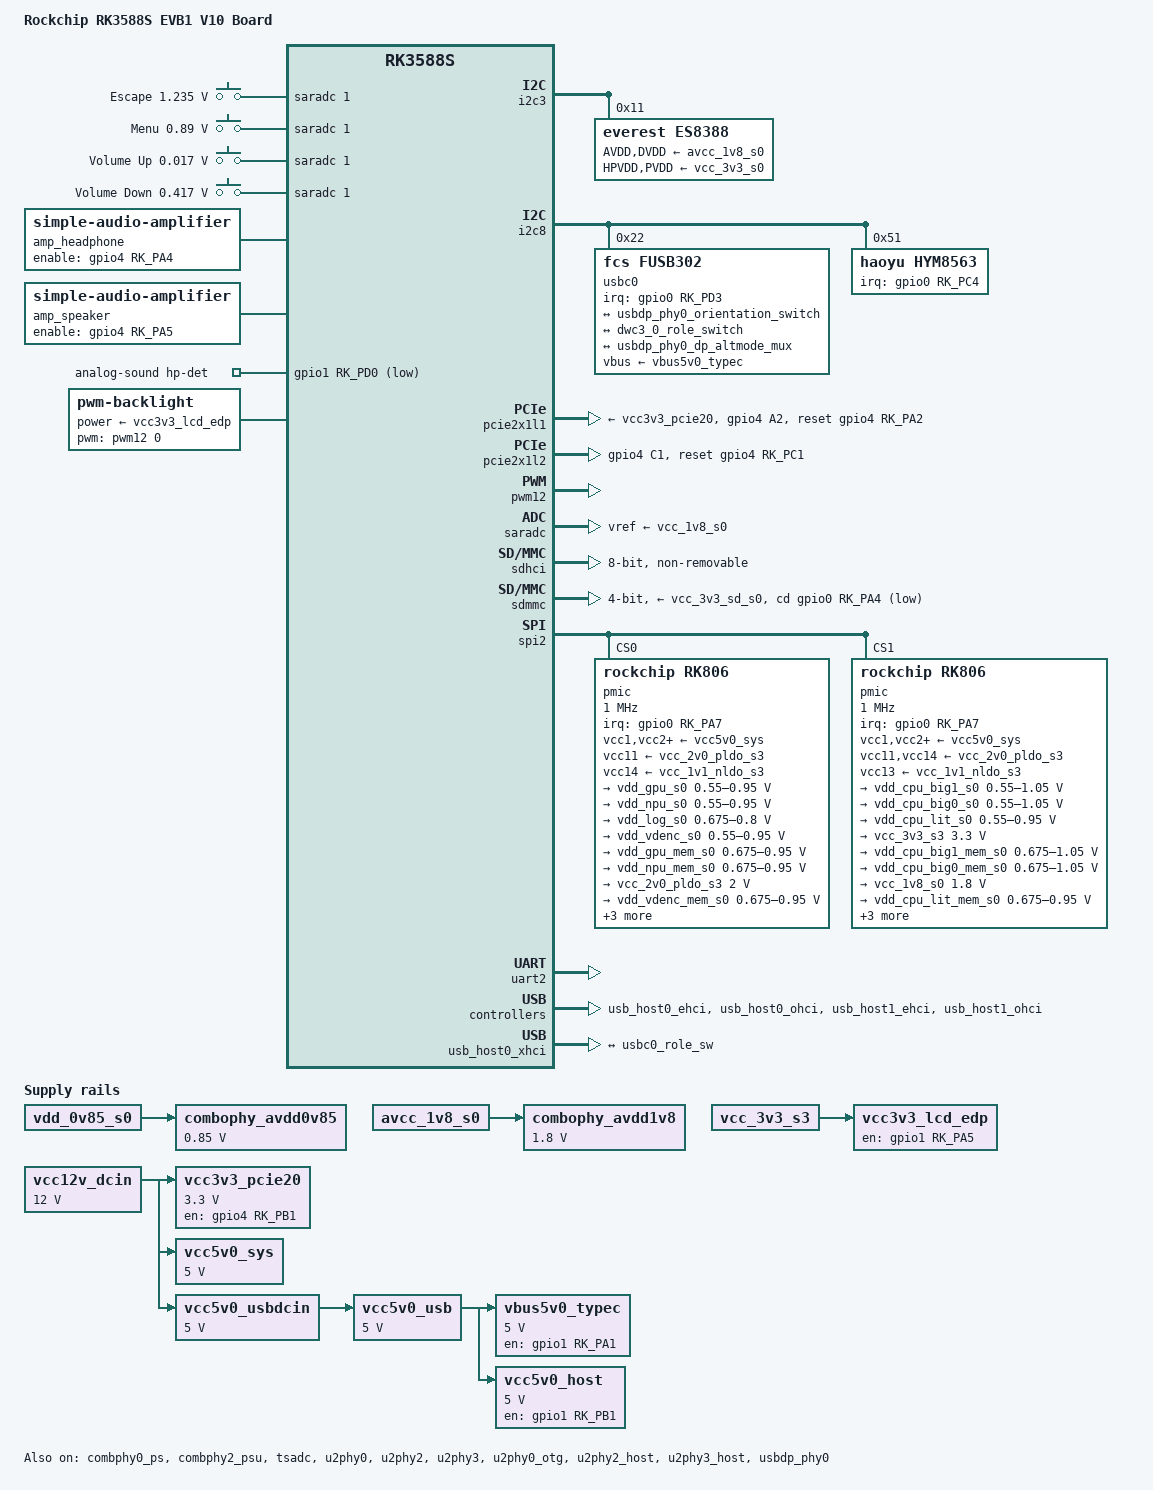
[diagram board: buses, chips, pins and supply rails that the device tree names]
// SPDX-License-Identifier: (GPL-2.0+ OR MIT)
/*
 * Copyright (c) 2024 Rockchip Electronics Co., Ltd.
 *
 */

/dts-v1/;

#include <dt-bindings/gpio/gpio.h>
#include <dt-bindings/input/input.h>
#include <dt-bindings/pinctrl/rockchip.h>
#include <dt-bindings/usb/pd.h>
#include "rk3588s.dtsi"

/ {
	model = "Rockchip RK3588S EVB1 V10 Board";
	compatible = "rockchip,rk3588s-evb1-v10", "rockchip,rk3588s";

	aliases {
		mmc0 = &sdhci;
		mmc1 = &sdmmc;
	};

	chosen {
		stdout-path = "serial2:1500000n8";
	};

	adc-keys {
		compatible = "adc-keys";
		io-channels = <&saradc 1>;
		io-channel-names = "buttons";
		keyup-threshold-microvolt = <1800000>;
		poll-interval = <100>;

		button-escape {
			label = "Escape";
			linux,code = <KEY_ESC>;
			press-threshold-microvolt = <1235000>;
		};

		button-menu {
			label = "Menu";
			linux,code = <KEY_MENU>;
			press-threshold-microvolt = <890000>;
		};

		button-vol-up {
			label = "Volume Up";
			linux,code = <KEY_VOLUMEUP>;
			press-threshold-microvolt = <17000>;
		};

		button-vol-down {
			label = "Volume Down";
			linux,code = <KEY_VOLUMEDOWN>;
			press-threshold-microvolt = <417000>;
		};
	};

	amp_headphone: amplifier-headphone {
		compatible = "simple-audio-amplifier";
		enable-gpios = <&gpio4 RK_PA4 GPIO_ACTIVE_HIGH>;
		pinctrl-names = "default";
		pinctrl-0 = <&headphone_amplifier_en>;
		sound-name-prefix = "Headphones Amplifier";
	};

	amp_speaker: amplifier-speaker {
		compatible = "simple-audio-amplifier";
		enable-gpios = <&gpio4 RK_PA5 GPIO_ACTIVE_HIGH>;
		pinctrl-names = "default";
		pinctrl-0 = <&speaker_amplifier_en>;
		sound-name-prefix = "Speaker Amplifier";
	};

	analog-sound {
		compatible = "simple-audio-card";
		pinctrl-names = "default";
		pinctrl-0 = <&hp_detect>;
		simple-audio-card,name = "RK3588 EVB1 Audio";
		simple-audio-card,aux-devs = <&amp_headphone>, <&amp_speaker>;
		simple-audio-card,bitclock-master = <&masterdai>;
		simple-audio-card,format = "i2s";
		simple-audio-card,frame-master = <&masterdai>;
		simple-audio-card,hp-det-gpio = <&gpio1 RK_PD0 GPIO_ACTIVE_LOW>;
		simple-audio-card,mclk-fs = <256>;
		simple-audio-card,pin-switches = "Headphones", "Speaker";
		simple-audio-card,routing =
			"Speaker Amplifier INL", "LOUT2",
			"Speaker Amplifier INR", "ROUT2",
			"Speaker", "Speaker Amplifier OUTL",
			"Speaker", "Speaker Amplifier OUTR",
			"Headphones Amplifier INL", "LOUT1",
			"Headphones Amplifier INR", "ROUT1",
			"Headphones", "Headphones Amplifier OUTL",
			"Headphones", "Headphones Amplifier OUTR",
			"LINPUT1", "Onboard Microphone",
			"RINPUT1", "Onboard Microphone",
			"LINPUT2", "Microphone Jack",
			"RINPUT2", "Microphone Jack";
		simple-audio-card,widgets =
			"Microphone", "Microphone Jack",
			"Microphone", "Onboard Microphone",
			"Headphone", "Headphones",
			"Speaker", "Speaker";

		simple-audio-card,cpu {
			sound-dai = <&i2s0_8ch>;
		};

		masterdai: simple-audio-card,codec {
			sound-dai = <&es8388>;
			system-clock-frequency = <12288000>;
		};
	};

	backlight: backlight {
		compatible = "pwm-backlight";
		power-supply = <&vcc3v3_lcd_edp>;
		pwms = <&pwm12 0 25000 0>;
	};

	combophy_avdd0v85: regulator-combophy-avdd0v85 {
		compatible = "regulator-fixed";
		regulator-name = "combophy_avdd0v85";
		regulator-always-on;
		regulator-boot-on;
		regulator-min-microvolt = <850000>;
		regulator-max-microvolt = <850000>;
		vin-supply = <&vdd_0v85_s0>;
	};

	combophy_avdd1v8: regulator-combophy-avdd1v8 {
		compatible = "regulator-fixed";
		regulator-name = "combophy_avdd1v8";
		regulator-always-on;
		regulator-boot-on;
		regulator-min-microvolt = <1800000>;
		regulator-max-microvolt = <1800000>;
		vin-supply = <&avcc_1v8_s0>;
	};

	vbus5v0_typec: regulator-vbus5v0-typec {
		compatible = "regulator-fixed";
		enable-active-high;
		gpios = <&gpio1 RK_PA1 GPIO_ACTIVE_HIGH>;
		pinctrl-names = "default";
		pinctrl-0 = <&typec5v_pwren>;
		regulator-name = "vbus5v0_typec";
		regulator-min-microvolt = <5000000>;
		regulator-max-microvolt = <5000000>;
		vin-supply = <&vcc5v0_usb>;
	};

	vcc12v_dcin: regulator-vcc12v-dcin {
		compatible = "regulator-fixed";
		regulator-name = "vcc12v_dcin";
		regulator-always-on;
		regulator-boot-on;
		regulator-min-microvolt = <12000000>;
		regulator-max-microvolt = <12000000>;
	};

	vcc3v3_lcd_edp: regulator-vcc3v3-lcd-edp {
		compatible = "regulator-fixed";
		enable-active-high;
		gpios = <&gpio1 RK_PA5 GPIO_ACTIVE_HIGH>;
		pinctrl-names = "default";
		pinctrl-0 = <&vcc3v3_lcd_edp_en>;
		regulator-name = "vcc3v3_lcd_edp";
		regulator-boot-on;
		vin-supply = <&vcc_3v3_s3>;
	};

	vcc3v3_pcie20: regulator-vcc3v3-pcie20 {
		compatible = "regulator-fixed";
		enable-active-high;
		gpios = <&gpio4 RK_PB1 GPIO_ACTIVE_HIGH>;
		pinctrl-names = "default";
		pinctrl-0 = <&vcc3v3_pcie20_en>;
		regulator-name = "vcc3v3_pcie20";
		regulator-min-microvolt = <3300000>;
		regulator-max-microvolt = <3300000>;
		startup-delay-us = <5000>;
		vin-supply = <&vcc12v_dcin>;
	};

	vcc5v0_host: regulator-vcc5v0-host {
		compatible = "regulator-fixed";
		enable-active-high;
		gpios = <&gpio1 RK_PB1 GPIO_ACTIVE_HIGH>;
		pinctrl-names = "default";
		pinctrl-0 = <&vcc5v0_host_en>;
		regulator-name = "vcc5v0_host";
		regulator-always-on;
		regulator-boot-on;
		regulator-min-microvolt = <5000000>;
		regulator-max-microvolt = <5000000>;
		vin-supply = <&vcc5v0_usb>;
	};

	vcc5v0_sys: regulator-vcc5v0-sys {
		compatible = "regulator-fixed";
		regulator-name = "vcc5v0_sys";
		regulator-always-on;
		regulator-boot-on;
		regulator-min-microvolt = <5000000>;
		regulator-max-microvolt = <5000000>;
		vin-supply = <&vcc12v_dcin>;
	};

	vcc5v0_usb: regulator-vcc5v0-usb {
		compatible = "regulator-fixed";
		regulator-name = "vcc5v0_usb";
		regulator-always-on;
		regulator-boot-on;
		regulator-min-microvolt = <5000000>;
		regulator-max-microvolt = <5000000>;
		vin-supply = <&vcc5v0_usbdcin>;
	};

	vcc5v0_usbdcin: regulator-vcc5v0-usbdcin {
		compatible = "regulator-fixed";
		regulator-name = "vcc5v0_usbdcin";
		regulator-always-on;
		regulator-boot-on;
		regulator-min-microvolt = <5000000>;
		regulator-max-microvolt = <5000000>;
		vin-supply = <&vcc12v_dcin>;
	};
};

&combphy0_ps {
	status = "okay";
};

&combphy2_psu {
	status = "okay";
};

&i2c3 {
	status = "okay";

	es8388: audio-codec@11 {
		compatible = "everest,es8388";
		reg = <0x11>;
		clocks = <&cru I2S0_8CH_MCLKOUT>;
		assigned-clocks = <&cru I2S0_8CH_MCLKOUT>;
		assigned-clock-rates = <12288000>;
		AVDD-supply = <&avcc_1v8_s0>;
		DVDD-supply = <&avcc_1v8_s0>;
		HPVDD-supply = <&vcc_3v3_s0>;
		PVDD-supply = <&vcc_3v3_s0>;
		#sound-dai-cells = <0>;
	};
};

&i2c8 {
	pinctrl-names = "default";
	pinctrl-0 = <&i2c8m2_xfer>;
	status = "okay";

	usbc0: usb-typec@22 {
		compatible = "fcs,fusb302";
		reg = <0x22>;
		interrupt-parent = <&gpio0>;
		interrupts = <RK_PD3 IRQ_TYPE_LEVEL_LOW>;
		pinctrl-names = "default";
		pinctrl-0 = <&usbc0_int>;
		vbus-supply = <&vbus5v0_typec>;

		usb_con: connector {
			compatible = "usb-c-connector";
			label = "USB-C";
			data-role = "dual";
			op-sink-microwatt = <1000000>;
			power-role = "dual";
			sink-pdos =
				<PDO_FIXED(5000, 1000, PDO_FIXED_USB_COMM)>;
			source-pdos =
				<PDO_FIXED(5000, 3000, PDO_FIXED_USB_COMM)>;
			try-power-role = "source";

			ports {
				#address-cells = <1>;
				#size-cells = <0>;

				port@0 {
					reg = <0>;

					usbc0_orien_sw: endpoint {
						remote-endpoint = <&usbdp_phy0_orientation_switch>;
					};
				};

				port@1 {
					reg = <1>;

					usbc0_role_sw: endpoint {
						remote-endpoint = <&dwc3_0_role_switch>;
					};
				};

				port@2 {
					reg = <2>;

					dp_altmode_mux: endpoint {
						remote-endpoint = <&usbdp_phy0_dp_altmode_mux>;
					};
				};
			};
		};
	};

	hym8563: rtc@51 {
		compatible = "haoyu,hym8563";
		reg = <0x51>;
		#clock-cells = <0>;
		clock-output-names = "hym8563";
		pinctrl-names = "default";
		pinctrl-0 = <&hym8563_int>;
		interrupt-parent = <&gpio0>;
		interrupts = <RK_PC4 IRQ_TYPE_LEVEL_LOW>;
		wakeup-source;
	};
};

&pcie2x1l1 {
	pinctrl-names = "default";
	pinctrl-0 = <&pcie2_1_rst>;
	reset-gpios = <&gpio4 RK_PA2 GPIO_ACTIVE_HIGH>;
	vpcie3v3-supply = <&vcc3v3_pcie20>;
	status = "okay";
};

&pcie2x1l2 {
	pinctrl-names = "default";
	pinctrl-0 = <&pcie2_2_rst>;
	reset-gpios = <&gpio4 RK_PC1 GPIO_ACTIVE_HIGH>;
	status = "okay";
};

&pinctrl {
	audio {
		hp_detect: headphone-detect {
			rockchip,pins = <1 RK_PD0 RK_FUNC_GPIO &pcfg_pull_none>;
		};

		headphone_amplifier_en: headphone-amplifier-en {
			rockchip,pins = <4 RK_PA4 RK_FUNC_GPIO &pcfg_pull_none>;
		};

		speaker_amplifier_en: speaker-amplifier-en {
			rockchip,pins = <4 RK_PA5 RK_FUNC_GPIO &pcfg_pull_none>;
		};
	};

	hym8563 {
		hym8563_int: hym8563-int {
			rockchip,pins = <0 RK_PC4 RK_FUNC_GPIO &pcfg_pull_up>;
		};
	};

	lcd-edp {
		vcc3v3_lcd_edp_en: vcc3v3-lcd-edp-en {
			rockchip,pins = <1 RK_PA5 RK_FUNC_GPIO &pcfg_pull_none>;
		};
	};

	pcie2 {
		pcie2_1_rst: pcie2-1-rst {
			rockchip,pins = <4 RK_PA2 RK_FUNC_GPIO &pcfg_pull_none>;
		};

		pcie2_2_rst: pcie2-2-rst {
			rockchip,pins = <4 RK_PC1 RK_FUNC_GPIO &pcfg_pull_none>;
		};

		vcc3v3_pcie20_en: vcc3v3-pcie20-en {
			rockchip,pins = <4 RK_PB1 RK_FUNC_GPIO &pcfg_pull_none>;
		};
	};

	usb {
		vcc5v0_host_en: vcc5v0-host-en {
			rockchip,pins = <1 RK_PB1 RK_FUNC_GPIO &pcfg_pull_none>;
		};
	};

	usb-typec {
		typec5v_pwren: typec5v-pwren {
			rockchip,pins = <1 RK_PA1 RK_FUNC_GPIO &pcfg_pull_none>;
		};

		usbc0_int: usbc0-int {
			rockchip,pins = <0 RK_PD3 RK_FUNC_GPIO &pcfg_pull_up>;
		};
	};
};

&pwm12 {
	status = "okay";
};

&saradc {
	vref-supply = <&vcc_1v8_s0>;
	status = "okay";
};

&sdhci {
	bus-width = <8>;
	mmc-hs400-1_8v;
	mmc-hs400-enhanced-strobe;
	no-sdio;
	no-sd;
	non-removable;
	status = "okay";
};

&sdmmc {
	bus-width = <4>;
	cap-mmc-highspeed;
	cap-sd-highspeed;
	cd-gpios = <&gpio0 RK_PA4 GPIO_ACTIVE_LOW>;
	disable-wp;
	max-frequency = <150000000>;
	no-mmc;
	no-sdio;
	sd-uhs-sdr104;
	vmmc-supply = <&vcc_3v3_sd_s0>;
	vqmmc-supply = <&vccio_sd_s0>;
	status = "okay";
};

&spi2 {
	assigned-clocks = <&cru CLK_SPI2>;
	assigned-clock-rates = <200000000>;
	num-cs = <2>;
	status = "okay";

	pmic@0 {
		compatible = "rockchip,rk806";
		reg = <0x0>;
		#gpio-cells = <2>;
		gpio-controller;
		interrupt-parent = <&gpio0>;
		interrupts = <RK_PA7 IRQ_TYPE_LEVEL_LOW>;
		pinctrl-names = "default";
		pinctrl-0 = <&pmic_pins>, <&rk806_dvs1_null>,
			    <&rk806_dvs2_null>, <&rk806_dvs3_null>;
		spi-max-frequency = <1000000>;
		system-power-controller;

		vcc1-supply = <&vcc5v0_sys>;
		vcc2-supply = <&vcc5v0_sys>;
		vcc3-supply = <&vcc5v0_sys>;
		vcc4-supply = <&vcc5v0_sys>;
		vcc5-supply = <&vcc5v0_sys>;
		vcc6-supply = <&vcc5v0_sys>;
		vcc7-supply = <&vcc5v0_sys>;
		vcc8-supply = <&vcc5v0_sys>;
		vcc9-supply = <&vcc5v0_sys>;
		vcc10-supply = <&vcc5v0_sys>;
		vcc11-supply = <&vcc_2v0_pldo_s3>;
		vcc12-supply = <&vcc5v0_sys>;
		vcc13-supply = <&vcc5v0_sys>;
		vcc14-supply = <&vcc_1v1_nldo_s3>;
		vcca-supply = <&vcc5v0_sys>;

		rk806_dvs1_null: dvs1-null-pins {
			pins = "gpio_pwrctrl1";
			function = "pin_fun0";
		};

		rk806_dvs2_null: dvs2-null-pins {
			pins = "gpio_pwrctrl2";
			function = "pin_fun0";
		};

		rk806_dvs3_null: dvs3-null-pins {
			pins = "gpio_pwrctrl3";
			function = "pin_fun0";
		};

		regulators {
			vdd_gpu_s0: dcdc-reg1 {
				regulator-name = "vdd_gpu_s0";
				regulator-boot-on;
				regulator-min-microvolt = <550000>;
				regulator-max-microvolt = <950000>;
				regulator-ramp-delay = <12500>;
				regulator-enable-ramp-delay = <400>;

				regulator-state-mem {
					regulator-off-in-suspend;
				};
			};

			vdd_npu_s0: dcdc-reg2 {
				regulator-name = "vdd_npu_s0";
				regulator-always-on;
				regulator-boot-on;
				regulator-min-microvolt = <550000>;
				regulator-max-microvolt = <950000>;
				regulator-ramp-delay = <12500>;

				regulator-state-mem {
					regulator-off-in-suspend;
				};
			};

			vdd_log_s0: dcdc-reg3 {
				regulator-name = "vdd_log_s0";
				regulator-always-on;
				regulator-boot-on;
				regulator-min-microvolt = <675000>;
				regulator-max-microvolt = <800000>;
				regulator-ramp-delay = <12500>;

				regulator-state-mem {
					regulator-off-in-suspend;
					regulator-suspend-microvolt = <750000>;
				};
			};

			vdd_vdenc_s0: dcdc-reg4 {
				regulator-name = "vdd_vdenc_s0";
				regulator-always-on;
				regulator-boot-on;
				regulator-min-microvolt = <550000>;
				regulator-max-microvolt = <950000>;
				regulator-ramp-delay = <12500>;

				regulator-state-mem {
					regulator-off-in-suspend;
				};
			};

			vdd_gpu_mem_s0: dcdc-reg5 {
				regulator-name = "vdd_gpu_mem_s0";
				regulator-boot-on;
				regulator-min-microvolt = <675000>;
				regulator-max-microvolt = <950000>;
				regulator-ramp-delay = <12500>;
				regulator-enable-ramp-delay = <400>;

				regulator-state-mem {
					regulator-off-in-suspend;
				};
			};

			vdd_npu_mem_s0: dcdc-reg6 {
				regulator-name = "vdd_npu_mem_s0";
				regulator-always-on;
				regulator-boot-on;
				regulator-min-microvolt = <675000>;
				regulator-max-microvolt = <950000>;
				regulator-ramp-delay = <12500>;

				regulator-state-mem {
					regulator-off-in-suspend;
				};
			};

			vcc_2v0_pldo_s3: dcdc-reg7 {
				regulator-name = "vdd_2v0_pldo_s3";
				regulator-always-on;
				regulator-boot-on;
				regulator-min-microvolt = <2000000>;
				regulator-max-microvolt = <2000000>;
				regulator-ramp-delay = <12500>;

				regulator-state-mem {
					regulator-on-in-suspend;
					regulator-suspend-microvolt = <2000000>;
				};
			};

			vdd_vdenc_mem_s0: dcdc-reg8 {
				regulator-name = "vdd_vdenc_mem_s0";
				regulator-always-on;
				regulator-boot-on;
				regulator-min-microvolt = <675000>;
				regulator-max-microvolt = <950000>;
				regulator-ramp-delay = <12500>;

				regulator-state-mem {
					regulator-off-in-suspend;
				};
			};

			vdd2_ddr_s3: dcdc-reg9 {
				regulator-name = "vdd2_ddr_s3";
				regulator-always-on;
				regulator-boot-on;

				regulator-state-mem {
					regulator-on-in-suspend;
				};
			};

			vcc_1v1_nldo_s3: dcdc-reg10 {
				regulator-name = "vcc_1v1_nldo_s3";
				regulator-always-on;
				regulator-boot-on;
				regulator-min-microvolt = <1100000>;
				regulator-max-microvolt = <1100000>;
				regulator-ramp-delay = <12500>;

				regulator-state-mem {
					regulator-on-in-suspend;
					regulator-suspend-microvolt = <1100000>;
				};
			};

			avcc_1v8_s0: pldo-reg1 {
				regulator-name = "avcc_1v8_s0";
				regulator-always-on;
				regulator-boot-on;
				regulator-min-microvolt = <1800000>;
				regulator-max-microvolt = <1800000>;
				regulator-ramp-delay = <12500>;

				regulator-state-mem {
					regulator-off-in-suspend;
				};
			};

			vdd1_1v8_ddr_s3: pldo-reg2 {
				regulator-name = "vdd1_1v8_ddr_s3";
				regulator-always-on;
				regulator-boot-on;
				regulator-min-microvolt = <1800000>;
				regulator-max-microvolt = <1800000>;
				regulator-ramp-delay = <12500>;

				regulator-state-mem {
					regulator-on-in-suspend;
					regulator-suspend-microvolt = <1800000>;
				};
			};

			vcc_1v8_s3: pldo-reg3 {
				regulator-name = "vcc_1v8_s3";
				regulator-always-on;
				regulator-boot-on;
				regulator-min-microvolt = <1800000>;
				regulator-max-microvolt = <1800000>;
				regulator-ramp-delay = <12500>;

				regulator-state-mem {
					regulator-on-in-suspend;
					regulator-suspend-microvolt = <1800000>;
				};
			};

			vcc_3v3_s0: pldo-reg4 {
				regulator-name = "vcc_3v3_s0";
				regulator-always-on;
				regulator-boot-on;
				regulator-min-microvolt = <3300000>;
				regulator-max-microvolt = <3300000>;
				regulator-ramp-delay = <12500>;

				regulator-state-mem {
					regulator-off-in-suspend;
				};
			};

			vccio_sd_s0: pldo-reg5 {
				regulator-name = "vccio_sd_s0";
				regulator-always-on;
				regulator-boot-on;
				regulator-min-microvolt = <1800000>;
				regulator-max-microvolt = <3300000>;
				regulator-ramp-delay = <12500>;

				regulator-state-mem {
					regulator-off-in-suspend;
				};
			};

			master_pldo6_s3: pldo-reg6 {
				regulator-name = "master_pldo6_s3";
				regulator-always-on;
				regulator-boot-on;
				regulator-min-microvolt = <1800000>;
				regulator-max-microvolt = <1800000>;

				regulator-state-mem {
					regulator-on-in-suspend;
					regulator-suspend-microvolt = <1800000>;
				};
			};

			vdd_0v75_s3: nldo-reg1 {
				regulator-name = "vdd_0v75_s3";
				regulator-always-on;
				regulator-boot-on;
				regulator-min-microvolt = <750000>;
				regulator-max-microvolt = <750000>;
				regulator-ramp-delay = <12500>;

				regulator-state-mem {
					regulator-on-in-suspend;
					regulator-suspend-microvolt = <750000>;
				};
			};

			vdd2l_0v9_ddr_s3: nldo-reg2 {
				regulator-name = "vdd2l_0v9_ddr_s3";
				regulator-always-on;
				regulator-boot-on;
				regulator-min-microvolt = <900000>;
				regulator-max-microvolt = <900000>;

				regulator-state-mem {
					regulator-on-in-suspend;
					regulator-suspend-microvolt = <900000>;
				};
			};

			master_nldo3: nldo-reg3 {
				regulator-name = "master_nldo3";

				regulator-state-mem {
					regulator-off-in-suspend;
				};
			};

			avdd_0v75_s0: nldo-reg4 {
				regulator-name = "avdd_0v75_s0";
				regulator-always-on;
				regulator-boot-on;
				regulator-min-microvolt = <750000>;
				regulator-max-microvolt = <750000>;

				regulator-state-mem {
					regulator-off-in-suspend;
				};
			};

			vdd_0v85_s0: nldo-reg5 {
				regulator-name = "vdd_0v85_s0";
				regulator-always-on;
				regulator-boot-on;
				regulator-min-microvolt = <850000>;
				regulator-max-microvolt = <850000>;

				regulator-state-mem {
					regulator-off-in-suspend;
				};
			};
		};
	};

	pmic@1 {
		compatible = "rockchip,rk806";
		reg = <0x01>;
		#gpio-cells = <2>;
		gpio-controller;
		interrupt-parent = <&gpio0>;
		interrupts = <RK_PA7 IRQ_TYPE_LEVEL_LOW>;
		pinctrl-names = "default";
		pinctrl-0 = <&rk806_slave_dvs1_null>, <&rk806_slave_dvs2_null>,
			    <&rk806_slave_dvs3_null>;
		spi-max-frequency = <1000000>;

		vcc1-supply = <&vcc5v0_sys>;
		vcc2-supply = <&vcc5v0_sys>;
		vcc3-supply = <&vcc5v0_sys>;
		vcc4-supply = <&vcc5v0_sys>;
		vcc5-supply = <&vcc5v0_sys>;
		vcc6-supply = <&vcc5v0_sys>;
		vcc7-supply = <&vcc5v0_sys>;
		vcc8-supply = <&vcc5v0_sys>;
		vcc9-supply = <&vcc5v0_sys>;
		vcc10-supply = <&vcc5v0_sys>;
		vcc11-supply = <&vcc_2v0_pldo_s3>;
		vcc12-supply = <&vcc5v0_sys>;
		vcc13-supply = <&vcc_1v1_nldo_s3>;
		vcc14-supply = <&vcc_2v0_pldo_s3>;
		vcca-supply = <&vcc5v0_sys>;

		rk806_slave_dvs1_null: dvs1-null-pins {
			pins = "gpio_pwrctrl1";
			function = "pin_fun0";
		};

		rk806_slave_dvs2_null: dvs2-null-pins {
			pins = "gpio_pwrctrl2";
			function = "pin_fun0";
		};

		rk806_slave_dvs3_null: dvs3-null-pins {
			pins = "gpio_pwrctrl3";
			function = "pin_fun0";
		};

		regulators {
			vdd_cpu_big1_s0: dcdc-reg1 {
				regulator-name = "vdd_cpu_big1_s0";
				regulator-always-on;
				regulator-boot-on;
				regulator-coupled-with = <&vdd_cpu_big1_mem_s0>;
				regulator-coupled-max-spread = <10000>;
				regulator-min-microvolt = <550000>;
				regulator-max-microvolt = <1050000>;
				regulator-ramp-delay = <12500>;

				regulator-state-mem {
					regulator-off-in-suspend;
				};
			};

			vdd_cpu_big0_s0: dcdc-reg2 {
				regulator-name = "vdd_cpu_big0_s0";
				regulator-always-on;
				regulator-boot-on;
				regulator-coupled-with = <&vdd_cpu_big0_mem_s0>;
				regulator-coupled-max-spread = <10000>;
				regulator-min-microvolt = <550000>;
				regulator-max-microvolt = <1050000>;
				regulator-ramp-delay = <12500>;

				regulator-state-mem {
					regulator-off-in-suspend;
				};
			};

			vdd_cpu_lit_s0: dcdc-reg3 {
				regulator-name = "vdd_cpu_lit_s0";
				regulator-always-on;
				regulator-boot-on;
				regulator-coupled-with = <&vdd_cpu_lit_mem_s0>;
				regulator-coupled-max-spread = <10000>;
				regulator-min-microvolt = <550000>;
				regulator-max-microvolt = <950000>;
				regulator-ramp-delay = <12500>;

				regulator-state-mem {
					regulator-off-in-suspend;
				};
			};

			vcc_3v3_s3: dcdc-reg4 {
				regulator-name = "vcc_3v3_s3";
				regulator-always-on;
				regulator-boot-on;
				regulator-min-microvolt = <3300000>;
				regulator-max-microvolt = <3300000>;
				regulator-ramp-delay = <12500>;

				regulator-state-mem {
					regulator-on-in-suspend;
					regulator-suspend-microvolt = <3300000>;
				};
			};

			vdd_cpu_big1_mem_s0: dcdc-reg5 {
				regulator-name = "vdd_cpu_big1_mem_s0";
				regulator-always-on;
				regulator-boot-on;
				regulator-coupled-with = <&vdd_cpu_big1_s0>;
				regulator-coupled-max-spread = <10000>;
				regulator-min-microvolt = <675000>;
				regulator-max-microvolt = <1050000>;
				regulator-ramp-delay = <12500>;

				regulator-state-mem {
					regulator-off-in-suspend;
				};
			};


			vdd_cpu_big0_mem_s0: dcdc-reg6 {
				regulator-name = "vdd_cpu_big0_mem_s0";
				regulator-always-on;
				regulator-boot-on;
				regulator-coupled-with = <&vdd_cpu_big0_s0>;
				regulator-coupled-max-spread = <10000>;
				regulator-min-microvolt = <675000>;
				regulator-max-microvolt = <1050000>;
				regulator-ramp-delay = <12500>;

				regulator-state-mem {
					regulator-off-in-suspend;
				};
			};

			vcc_1v8_s0: dcdc-reg7 {
				regulator-name = "vcc_1v8_s0";
				regulator-always-on;
				regulator-boot-on;
				regulator-min-microvolt = <1800000>;
				regulator-max-microvolt = <1800000>;
				regulator-ramp-delay = <12500>;

				regulator-state-mem {
					regulator-off-in-suspend;
				};
			};

			vdd_cpu_lit_mem_s0: dcdc-reg8 {
				regulator-name = "vdd_cpu_lit_mem_s0";
				regulator-always-on;
				regulator-boot-on;
				regulator-coupled-with = <&vdd_cpu_lit_s0>;
				regulator-coupled-max-spread = <10000>;
				regulator-min-microvolt = <675000>;
				regulator-max-microvolt = <950000>;
				regulator-ramp-delay = <12500>;

				regulator-state-mem {
					regulator-off-in-suspend;
				};
			};

			vddq_ddr_s0: dcdc-reg9 {
				regulator-name = "vddq_ddr_s0";
				regulator-always-on;
				regulator-boot-on;

				regulator-state-mem {
					regulator-off-in-suspend;
				};
			};

			vdd_ddr_s0: dcdc-reg10 {
				regulator-name = "vdd_ddr_s0";
				regulator-always-on;
				regulator-boot-on;
				regulator-min-microvolt = <675000>;
				regulator-max-microvolt = <900000>;
				regulator-ramp-delay = <12500>;

				regulator-state-mem {
					regulator-off-in-suspend;
				};
			};

			vcc_1v8_cam_s0: pldo-reg1 {
				regulator-name = "vcc_1v8_cam_s0";
				regulator-always-on;
				regulator-boot-on;
				regulator-min-microvolt = <1800000>;
				regulator-max-microvolt = <1800000>;
				regulator-ramp-delay = <12500>;

				regulator-state-mem {
					regulator-off-in-suspend;
				};
			};

			avdd1v8_ddr_pll_s0: pldo-reg2 {
				regulator-name = "avdd1v8_ddr_pll_s0";
				regulator-always-on;
				regulator-boot-on;
				regulator-min-microvolt = <1800000>;
				regulator-max-microvolt = <1800000>;
				regulator-ramp-delay = <12500>;

				regulator-state-mem {
					regulator-off-in-suspend;
				};
			};

			vdd_1v8_pll_s0: pldo-reg3 {
				regulator-name = "vdd_1v8_pll_s0";
				regulator-always-on;
				regulator-boot-on;
				regulator-min-microvolt = <1800000>;
				regulator-max-microvolt = <1800000>;
				regulator-ramp-delay = <12500>;

				regulator-state-mem {
					regulator-off-in-suspend;
				};
			};

			vcc_3v3_sd_s0: pldo-reg4 {
				regulator-name = "vcc_3v3_sd_s0";
				regulator-always-on;
				regulator-boot-on;
				regulator-min-microvolt = <3300000>;
				regulator-max-microvolt = <3300000>;
				regulator-ramp-delay = <12500>;

				regulator-state-mem {
					regulator-off-in-suspend;
				};
			};

			vcc_2v8_cam_s0: pldo-reg5 {
				regulator-name = "vcc_2v8_cam_s0";
				regulator-always-on;
				regulator-boot-on;
				regulator-min-microvolt = <2800000>;
				regulator-max-microvolt = <2800000>;
				regulator-ramp-delay = <12500>;

				regulator-state-mem {
					regulator-off-in-suspend;
				};
			};

			pldo6_s3: pldo-reg6 {
				regulator-name = "pldo6_s3";
				regulator-always-on;
				regulator-boot-on;
				regulator-min-microvolt = <1800000>;
				regulator-max-microvolt = <1800000>;

				regulator-state-mem {
					regulator-on-in-suspend;
					regulator-suspend-microvolt = <1800000>;
				};
			};

			vdd_0v75_pll_s0: nldo-reg1 {
				regulator-name = "vdd_0v75_pll_s0";
				regulator-always-on;
				regulator-boot-on;
				regulator-min-microvolt = <750000>;
				regulator-max-microvolt = <750000>;
				regulator-ramp-delay = <12500>;

				regulator-state-mem {
					regulator-off-in-suspend;
				};
			};

			vdd_ddr_pll_s0: nldo-reg2 {
				regulator-name = "vdd_ddr_pll_s0";
				regulator-always-on;
				regulator-boot-on;
				regulator-min-microvolt = <850000>;
				regulator-max-microvolt = <850000>;

				regulator-state-mem {
					regulator-off-in-suspend;
				};
			};

			slave_nldo3: nldo-reg3 {
				regulator-name = "slave_nldo3";

				regulator-state-mem {
					regulator-off-in-suspend;
				};
			};

			avdd_1v2_cam_s0: nldo-reg4 {
				regulator-always-on;
				regulator-boot-on;
				regulator-min-microvolt = <1200000>;
				regulator-max-microvolt = <1200000>;
				regulator-ramp-delay = <12500>;
				regulator-name = "avdd_1v2_cam_s0";

				regulator-state-mem {
					regulator-off-in-suspend;
				};
			};

			avdd_1v2_s0: nldo-reg5 {
				regulator-always-on;
				regulator-boot-on;
				regulator-min-microvolt = <1200000>;
				regulator-max-microvolt = <1200000>;
				regulator-ramp-delay = <12500>;
				regulator-name = "avdd_1v2_s0";

				regulator-state-mem {
					regulator-off-in-suspend;
				};
			};
		};
	};
};

&tsadc {
	status = "okay";
};

&u2phy0 {
	status = "okay";
};

&u2phy2 {
	status = "okay";
};

&u2phy3 {
	status = "okay";
};

&u2phy0_otg {
	status = "okay";
};

&u2phy2_host {
	phy-supply = <&vcc5v0_host>;
	status = "okay";
};

&u2phy3_host {
	phy-supply = <&vcc5v0_host>;
	status = "okay";
};

&uart2 {
	pinctrl-names = "default";
	pinctrl-0 = <&uart2m0_xfer>;
	status = "okay";
};

&usb_host0_ehci {
	status = "okay";
};

&usb_host0_ohci {
	status = "okay";
};

&usb_host0_xhci {
	usb-role-switch;
	status = "okay";

	port {
		#address-cells = <1>;
		#size-cells = <0>;

		dwc3_0_role_switch: endpoint@0 {
			reg = <0>;
			remote-endpoint = <&usbc0_role_sw>;
		};
	};
};

&usb_host1_ehci {
	status = "okay";
};

&usb_host1_ohci {
	status = "okay";
};

&usbdp_phy0 {
	mode-switch;
	orientation-switch;
	sbu1-dc-gpios = <&gpio1 RK_PB6 GPIO_ACTIVE_HIGH>;
	sbu2-dc-gpios = <&gpio1 RK_PB7 GPIO_ACTIVE_HIGH>;
	status = "okay";

	port {
		#address-cells = <1>;
		#size-cells = <0>;

		usbdp_phy0_orientation_switch: endpoint@0 {
			reg = <0>;
			remote-endpoint = <&usbc0_orien_sw>;
		};

		usbdp_phy0_dp_altmode_mux: endpoint@1 {
			reg = <1>;
			remote-endpoint = <&dp_altmode_mux>;
		};
	};
};
